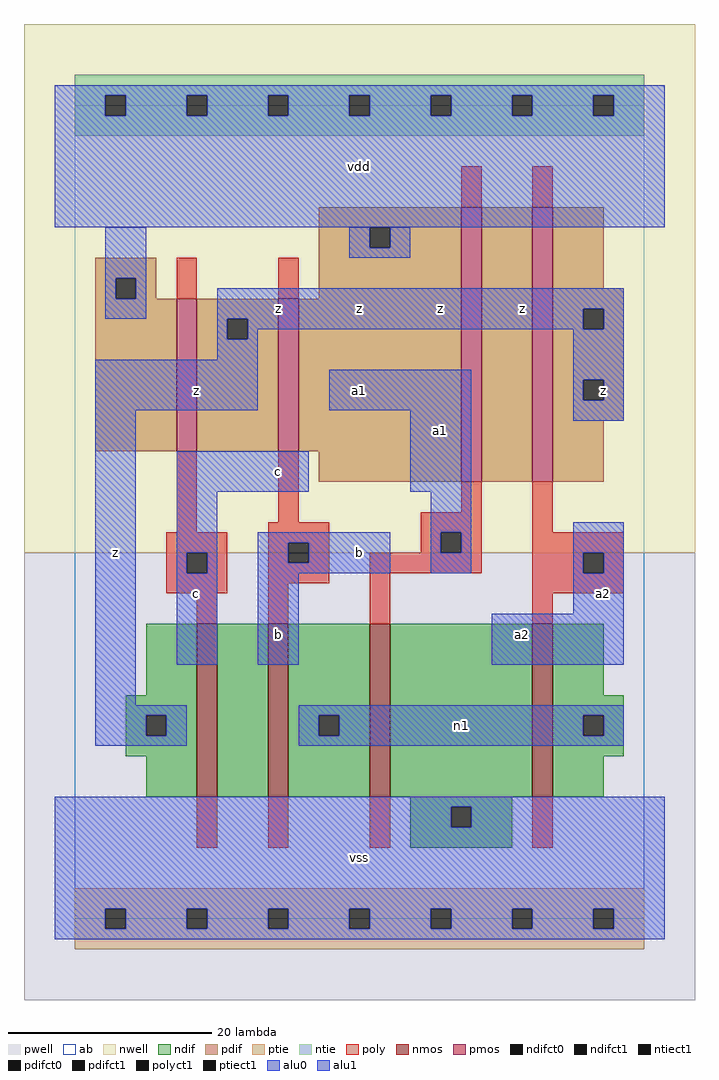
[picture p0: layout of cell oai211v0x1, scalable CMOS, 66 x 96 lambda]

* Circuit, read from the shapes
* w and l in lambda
.subckt oai211v0x1 a1 a2 b c n1 vdd vss z
M1 n2 c z vss nfet w=17 l=2
M2 n1 b n2 vss nfet w=17 l=2
M3 vss a1 n1 vss nfet w=17 l=2
M4 n1 a2 vss vss nfet w=17 l=2
M5 z c vdd vdd pfet w=15 l=2
M6 vdd b z vdd pfet w=15 l=2
M7 n3 a1 vdd vdd pfet w=27 l=2
M8 z a2 n3 vdd pfet w=27 l=2
.ends

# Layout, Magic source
magic
tech scmos
<< ab >>
rect 0 0 56 80
<< nwell >>
rect -5 36 61 88
<< pwell >>
rect -5 -8 61 36
<< poly >>
rect 38 70 40 74
rect 45 70 47 74
rect 10 61 12 65
rect 20 61 22 65
rect 10 38 12 46
rect 20 39 22 46
rect 38 40 40 43
rect 9 36 15 38
rect 9 34 11 36
rect 13 34 15 36
rect 9 32 15 34
rect 19 37 25 39
rect 19 35 21 37
rect 23 35 25 37
rect 34 38 40 40
rect 34 36 36 38
rect 38 36 40 38
rect 19 33 25 35
rect 29 34 40 36
rect 45 38 47 43
rect 45 36 54 38
rect 45 34 50 36
rect 52 34 54 36
rect 12 29 14 32
rect 19 29 21 33
rect 29 29 31 34
rect 45 32 54 34
rect 45 29 47 32
rect 12 7 14 12
rect 19 7 21 12
rect 29 7 31 12
rect 45 7 47 12
<< ndif >>
rect 7 22 12 29
rect 5 20 12 22
rect 5 18 7 20
rect 9 18 12 20
rect 5 16 12 18
rect 7 12 12 16
rect 14 12 19 29
rect 21 20 29 29
rect 21 18 24 20
rect 26 18 29 20
rect 21 12 29 18
rect 31 12 45 29
rect 47 22 52 29
rect 47 20 54 22
rect 47 18 50 20
rect 52 18 54 20
rect 47 16 54 18
rect 47 12 52 16
rect 33 11 43 12
rect 33 9 37 11
rect 39 9 43 11
rect 33 7 43 9
<< pdif >>
rect 24 68 38 70
rect 24 66 29 68
rect 31 66 38 68
rect 2 63 8 65
rect 2 61 4 63
rect 6 61 8 63
rect 24 61 38 66
rect 2 46 10 61
rect 12 59 20 61
rect 12 57 15 59
rect 17 57 20 59
rect 12 46 20 57
rect 22 46 38 61
rect 24 43 38 46
rect 40 43 45 70
rect 47 62 52 70
rect 47 60 54 62
rect 47 58 50 60
rect 52 58 54 60
rect 47 53 54 58
rect 47 51 50 53
rect 52 51 54 53
rect 47 49 54 51
rect 47 43 52 49
<< alu1 >>
rect -2 81 58 82
rect -2 79 3 81
rect 5 79 11 81
rect 13 79 19 81
rect 21 79 27 81
rect 29 79 35 81
rect 37 79 43 81
rect 45 79 51 81
rect 53 79 58 81
rect -2 68 58 79
rect 14 60 54 62
rect 14 59 50 60
rect 14 57 15 59
rect 17 58 50 59
rect 52 58 54 60
rect 17 57 18 58
rect 14 55 18 57
rect 2 50 18 55
rect 25 50 39 54
rect 2 21 6 50
rect 10 42 23 46
rect 33 42 39 50
rect 49 53 54 58
rect 49 51 50 53
rect 52 51 54 53
rect 49 49 54 51
rect 10 36 14 42
rect 35 38 39 42
rect 10 34 11 36
rect 13 34 14 36
rect 10 25 14 34
rect 18 37 31 38
rect 18 35 21 37
rect 23 35 31 37
rect 18 34 31 35
rect 35 36 36 38
rect 38 36 39 38
rect 35 34 39 36
rect 49 36 54 39
rect 49 34 50 36
rect 52 34 54 36
rect 18 25 22 34
rect 49 30 54 34
rect 41 25 54 30
rect 2 20 11 21
rect 2 18 7 20
rect 9 18 11 20
rect 2 17 11 18
rect -2 11 58 12
rect -2 9 37 11
rect 39 9 58 11
rect -2 1 58 9
rect -2 -1 3 1
rect 5 -1 11 1
rect 13 -1 19 1
rect 21 -1 27 1
rect 29 -1 35 1
rect 37 -1 43 1
rect 45 -1 51 1
rect 53 -1 58 1
rect -2 -2 58 -1
<< ptie >>
rect 0 1 56 3
rect 0 -1 3 1
rect 5 -1 11 1
rect 13 -1 19 1
rect 21 -1 27 1
rect 29 -1 35 1
rect 37 -1 43 1
rect 45 -1 51 1
rect 53 -1 56 1
rect 0 -3 56 -1
<< ntie >>
rect 0 81 56 83
rect 0 79 3 81
rect 5 79 11 81
rect 13 79 19 81
rect 21 79 27 81
rect 29 79 35 81
rect 37 79 43 81
rect 45 79 51 81
rect 53 79 56 81
rect 0 77 56 79
<< nmos >>
rect 12 12 14 29
rect 19 12 21 29
rect 29 12 31 29
rect 45 12 47 29
<< pmos >>
rect 10 46 12 61
rect 20 46 22 61
rect 38 43 40 70
rect 45 43 47 70
<< polyct1 >>
rect 11 34 13 36
rect 21 35 23 37
rect 36 36 38 38
rect 50 34 52 36
<< ndifct0 >>
rect 24 18 26 20
rect 50 18 52 20
<< ndifct1 >>
rect 7 18 9 20
rect 37 9 39 11
<< ntiect1 >>
rect 3 79 5 81
rect 11 79 13 81
rect 19 79 21 81
rect 27 79 29 81
rect 35 79 37 81
rect 43 79 45 81
rect 51 79 53 81
<< ptiect1 >>
rect 3 -1 5 1
rect 11 -1 13 1
rect 19 -1 21 1
rect 27 -1 29 1
rect 35 -1 37 1
rect 43 -1 45 1
rect 51 -1 53 1
<< pdifct0 >>
rect 29 66 31 68
rect 4 61 6 63
<< pdifct1 >>
rect 15 57 17 59
rect 50 58 52 60
rect 50 51 52 53
<< alu0 >>
rect 3 63 7 68
rect 27 66 29 68
rect 31 66 33 68
rect 27 65 33 66
rect 3 61 4 63
rect 6 61 7 63
rect 3 59 7 61
rect 22 20 54 21
rect 22 18 24 20
rect 26 18 50 20
rect 52 18 54 20
rect 22 17 54 18
<< labels >>
rlabel alu0 38 19 38 19 6 n1
rlabel alu1 4 36 4 36 6 z
rlabel alu1 12 32 12 32 6 c
rlabel alu1 20 28 20 28 6 b
rlabel alu1 20 44 20 44 6 c
rlabel alu1 12 52 12 52 6 z
rlabel alu1 20 60 20 60 6 z
rlabel alu1 28 6 28 6 6 vss
rlabel alu1 28 36 28 36 6 b
rlabel alu1 28 52 28 52 6 a1
rlabel alu1 36 48 36 48 6 a1
rlabel alu1 36 60 36 60 6 z
rlabel alu1 28 60 28 60 6 z
rlabel alu1 28 74 28 74 6 vdd
rlabel alu1 44 28 44 28 6 a2
rlabel alu1 52 32 52 32 6 a2
rlabel alu1 52 52 52 52 6 z
rlabel alu1 44 60 44 60 6 z
<< end >>
